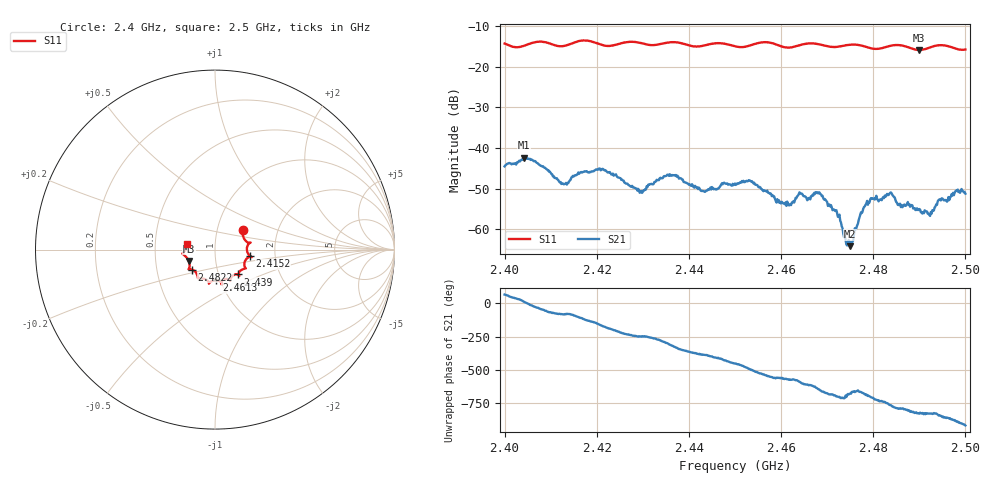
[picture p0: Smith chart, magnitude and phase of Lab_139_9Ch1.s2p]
# Hz S RI R 50
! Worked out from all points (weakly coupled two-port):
!   601 points, 2.4 GHz to 2.5 GHz, reference 50 ohm
!   highest |S21| = -42.43 dB at 2.4042 GHz (marker M1); lowest = -64.2 dB at 2.475 GHz (marker M2)
!   lowest |S11| = -15.9 dB at 2.49 GHz (marker M3), VSWR 1.38, Z = 37 - j4.84 ohm
!   |S11| at or under -10 dB: start of sweep to end of sweep
!   S12 and S22 are empty: the file has one direction only
!   S11 on the Smith chart (normalised r, x): 2.4 GHz: 1.33, +0.31; 2.4152 GHz: 1.48, -0.11; 2.439 GHz: 1.24, -0.36; 2.4613 GHz: 0.96, -0.34; 2.4822 GHz: 0.76, -0.17; 2.5 GHz: 0.72, +0.05
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2.4e9  0.1563 0.111  0.00252 0.00536  0 0  0 0
2.404167e9  0.1736 0.0463  0.00743 0.00139  0 0  0 0
2.4125e9  0.1777 -0.00219  0.000483 -0.00363  0 0  0 0
2.415167e9  0.1945 -0.0365  -0.000193 -0.00454  0 0  0 0
2.416667e9  0.2039 -0.0422  -0.00186 -0.0047  0 0  0 0
2.421667e9  0.1722 -0.0551  -0.00529 -0.000325  0 0  0 0
2.429667e9  0.1618 -0.1072  -0.000987 0.00279  0 0  0 0
2.433333e9  0.1322 -0.1321  0.000185 0.00403  0 0  0 0
2.439e9  0.1287 -0.1385  0.00377 0.000376  0 0  0 0
2.443167e9  0.0901 -0.1565  0.00265 -0.00128  0 0  0 0
2.45e9  0.0689 -0.1637  -0.000171 -0.00365  0 0  0 0
2.453333e9  0.0372 -0.1781  -0.00281 -0.00277  0 0  0 0
2.461333e9  0.007 -0.1709  -0.0019 0.00108  0 0  0 0
2.466667e9  -0.0336 -0.1898  -0.000546 0.00248  0 0  0 0
2.4685e9  -0.0342 -0.1828  0.00106 0.00252  0 0  0 0
2.472167e9  -0.0676 -0.1611  0.00147 0.000566  0 0  0 0
2.475e9  -0.0917 -0.1612  0.000451 0.000425  0 0  0 0
2.478167e9  -0.0975 -0.147  0.00153 0.00115  0 0  0 0
2.482167e9  -0.128 -0.1115  0.00236 -0.000773  0 0  0 0
2.483333e9  -0.1393 -0.1101  0.00212 -0.00157  0 0  0 0
2.49e9  -0.1462 -0.0638  -0.000539 -0.00169  0 0  0 0
2.5e9  -0.1588 0.0328  -0.00264 0.000752  0 0  0 0
